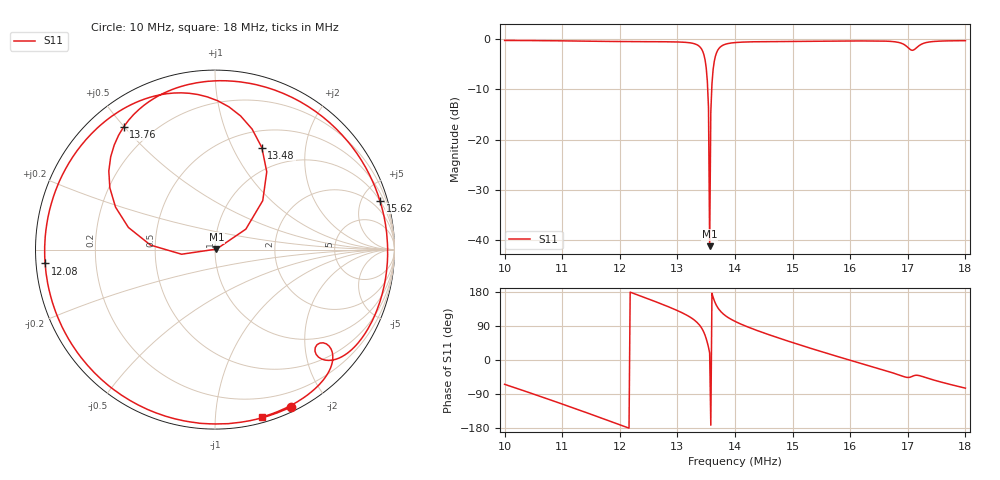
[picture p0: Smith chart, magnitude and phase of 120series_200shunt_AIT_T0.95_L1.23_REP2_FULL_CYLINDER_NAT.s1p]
! NanoVNA Web complex sweep
! Processing: original sample grid, no browser smoothing
# Hz S RI R 50
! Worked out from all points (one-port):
!   401 points, 10 MHz to 18 MHz, reference 50 ohm
!   lowest |S11| = -41.3 dB at 13.56 MHz (marker M1), VSWR 1.02, Z = 50.8 + j0.278 ohm
!   |S11| at or under -10 dB: 13.53 MHz to 13.6 MHz (69.91 kHz wide, 0.516 % of centre)
!   S11 on the Smith chart (normalised r, x): 10 MHz: 0.05, -1.59; 12.08 MHz: 0.03, -0.04; 13.48 MHz: 0.70, +1.31; 13.76 MHz: 0.10, +0.50; 15.62 MHz: 1.01, +6.74; 18 MHz: 0.04, -1.32
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1e7  0.4241 -0.8766
1.052e7  -0.0145 -0.9713
1.1e7  -0.4263 -0.8664
1.154e7  -0.788 -0.5427
1.2e7  -0.9386 -0.1507
1.208e7  -0.9467 -0.0769
1.256e7  -0.8743 0.3635
1.3e7  -0.6098 0.7169
1.334e7  -0.1436 0.8709
1.342e7  0.0778 0.7953
1.348e7  0.2609 0.5688
1.35e7  0.2883 0.4335
1.352e7  0.2661 0.2728
1.356e7  0.00821 0.00273
1.36e7  -0.3595 0.0252
1.362e7  -0.4828 0.1237
1.364e7  -0.5542 0.2366
1.376e7  -0.5097 0.6826
1.4e7  -0.1921 0.9079
1.444e7  0.2492 0.9139
1.5e7  0.6624 0.6854
1.562e7  0.9188 0.2727
1.6e7  0.9614 -0.00992
1.658e7  0.8597 -0.4281
1.7e7  0.5766 -0.5991
1.712e7  0.6028 -0.5193
1.73e7  0.6429 -0.6614
1.8e7  0.2626 -0.9327
